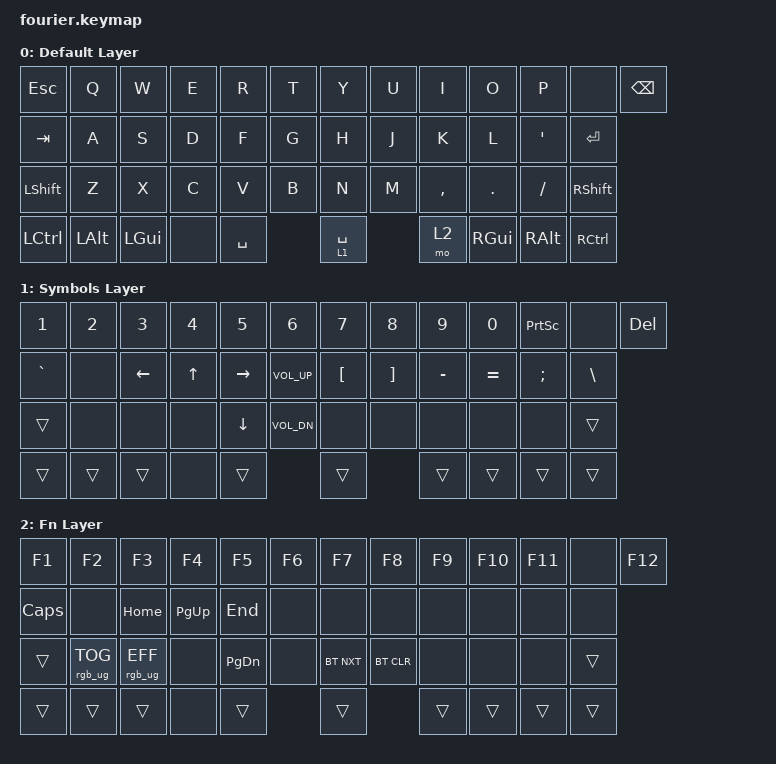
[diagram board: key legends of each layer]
/*
 * Copyright (c) 2021 The ZMK Contributors
 *
 * SPDX-License-Identifier: MIT
 */

#include <behaviors.dtsi>
#include <dt-bindings/zmk/bt.h>
#include <dt-bindings/zmk/keys.h>
#include <dt-bindings/zmk/rgb.h>

/ {
    keymap {
        compatible = "zmk,keymap";

// ----------------------------------------------      ----------------------------------------------
// | ESC  |  Q  |  W  |  E  |  R  |  T  |              |  Y  |  U  |  I  |  O  |  P  |     |  BSPC  |
// | TAB    |  A  |  S  |  D   |  F  |  G  |             |  H  |  J  |  K  |  L  |  '  |    ENTER   |
// | SHIFT     |  Z  |  X  |  C  |  V  |  B  |              |  N  |  M  |  ,  |  .  |  /  |  RSHFT  |
// | LCTRL   | LALT| LGUI |   SPACE        |             |   SPACE/L1  | L2 |  RGUI  |  RALT  |RCTRL|
// -------------------------------------------        -----------------------------------------------

        default_layer {
            display-name = "Default Layer";
            bindings = <
    &kp ESC   &kp Q    &kp W    &kp E     &kp R     &kp T   /**/ &kp Y       &kp U  &kp I     &kp O     &kp P     &none  &kp BACKSPACE
    &kp TAB   &kp A    &kp S    &kp D     &kp F     &kp G   /**/ &kp H       &kp J  &kp K     &kp L     &kp SQT   &kp ENTER
    &kp LSHFT &kp Z    &kp X    &kp C     &kp V     &kp B   /**/ &kp N       &kp M  &kp COMMA &kp DOT   &kp FSLH  &kp RSHFT
    &kp LCTRL &kp LALT &kp LGUI &none     &kp SPACE         /**/ &lt 1 SPACE        &mo 2     &kp RGUI  &kp RALT  &kp RCTRL
            >;
        };

// ----------------------------------------------      ----------------------------------------------
// | 1    |  2  |  3  |  4  |  5  |  6  |              |  7  |  8  |  9  |  O  | PSCR |     |  DEL  |
// | `      |     |  <- |  ^   |  -> |  Vo+ |             |  [  |  ]  |  -  |  =  |  ;  |      \    |
// | trans     |     |     |     |  V  |  Vo- |              |     |     |    |     |     |  trans  |
// | trans   | trans| trans |   trans        |             |   trans   | trans | trans | trans|trans|
// -------------------------------------------        -----------------------------------------------

        symbols_layer {
            display-name = "Symbols Layer";
            bindings = <
    &kp N1     &kp N2   &kp N3   &kp N4    &kp N5    &kp N6        /**/ &kp N7    &kp N8   &kp N9    &kp N0    &kp PSCRN  &none  &kp DEL
    &kp GRAVE  &none    &kp LEFT &kp UP    &kp RIGHT &kp C_VOL_UP  /**/ &kp LBKT  &kp RBKT &kp MINUS &kp EQUAL &kp SEMI   &kp BACKSLASH
    &trans     &none    &none    &none     &kp DOWN  &kp C_VOL_DN  /**/ &none     &none    &none     &none     &none      &trans
    &trans     &trans   &trans   &none     &trans                  /**/ &trans             &trans    &trans    &trans     &trans
            >;
        };

// ----------------------------------------------      ----------------------------------------------
// | F1   |  F2 |  F3 |  F4 | F5  |  F6 |              |  F7 |  F8  | F9  | F1O  | F11 |    |  F12  |
// | CAP      |     | home| PgUp | End |     |           |     |     |     |     |        |         |
// | trans     |  RGB T  |  RGB M   | PgDn |      |     | BT_NXT | BT_CLR |    |    |    |    |trans|
// | trans   | trans| trans |   trans        |           | trans   | trans | trans | trans | trans  |
// -------------------------------------------        -----------------------------------------------

        fn_layer {
            display-name = "Fn Layer";
            bindings = <
    &kp F1     &kp F2          &kp F3          &kp F4    &kp F5     &kp F6    /**/ &kp F7     &kp F8     &kp F9    &kp F10    &kp F11    &none  &kp F12
    &kp CAPS   &none           &kp HOME        &kp PG_UP &kp END    &none     /**/ &none      &none      &none     &none     &none      &none
    &trans     &rgb_ug RGB_TOG &rgb_ug RGB_EFF &none     &kp PG_DN  &none     /**/ &bt BT_NXT &bt BT_CLR &none     &none     &none      &trans
    &trans     &trans          &trans          &none     &trans               /**/ &trans                &trans    &trans    &trans     &trans
            >;
        };
    };
};
